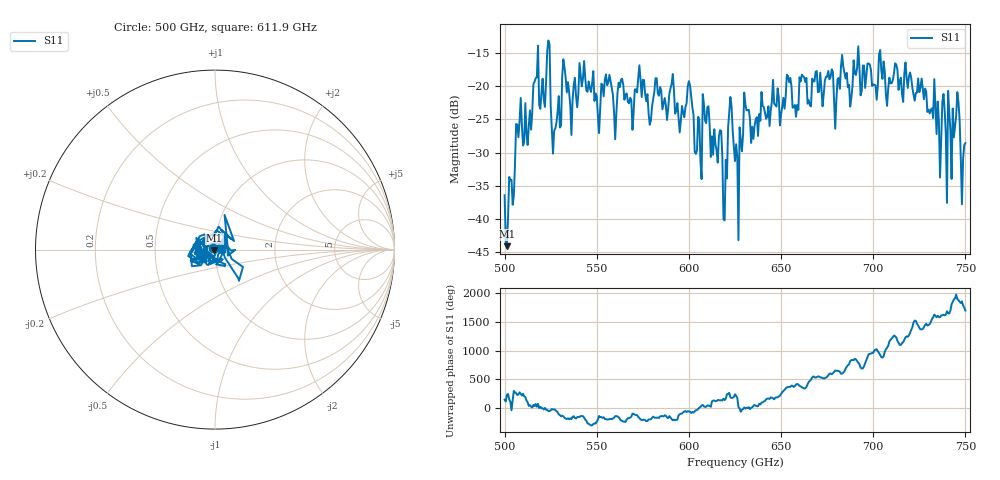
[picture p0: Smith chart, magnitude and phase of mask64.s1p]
!Created with skrf (http://scikit-rf.org).
# GHz S MA R 50.0
!freq magS11 angS11
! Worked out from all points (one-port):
!   401 points, 500 GHz to 750 GHz, reference 50 ohm
!   lowest |S11| = -44.1 dB at 501.2 GHz (marker M1), VSWR 1.01, Z = 49.6 - j0.487 ohm
!   |S11| at or under -10 dB: start of sweep to end of sweep
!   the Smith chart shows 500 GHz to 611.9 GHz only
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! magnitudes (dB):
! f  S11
! 500 GHz  -36.4
! 501.2 GHz  -44.1
! 507.5 GHz  -27.7
! 513.1 GHz  -26.0
! 516.9 GHz  -18.8
! 520.6 GHz  -18.9
! 523.8 GHz  -13.2
! 526.9 GHz  -26.7
! 531.2 GHz  -18.6
! 560 GHz  -28.0
! 562.5 GHz  -20.2
! 579.4 GHz  -25.2
! 590.6 GHz  -19.7
! 593.8 GHz  -22.6
! 600.6 GHz  -20.0
! 605.6 GHz  -25.1
! 608.8 GHz  -25.2
! 619.4 GHz  -40.2
! 622.5 GHz  -21.7
! 625 GHz  -31.3
! 627.5 GHz  -26.2
! 631.2 GHz  -23.6
! 635 GHz  -27.9
! 656.2 GHz  -23.3
! 687.5 GHz  -23.1
! 690.6 GHz  -18.4
! 718.8 GHz  -20.3
! 750 GHz  -28.6
